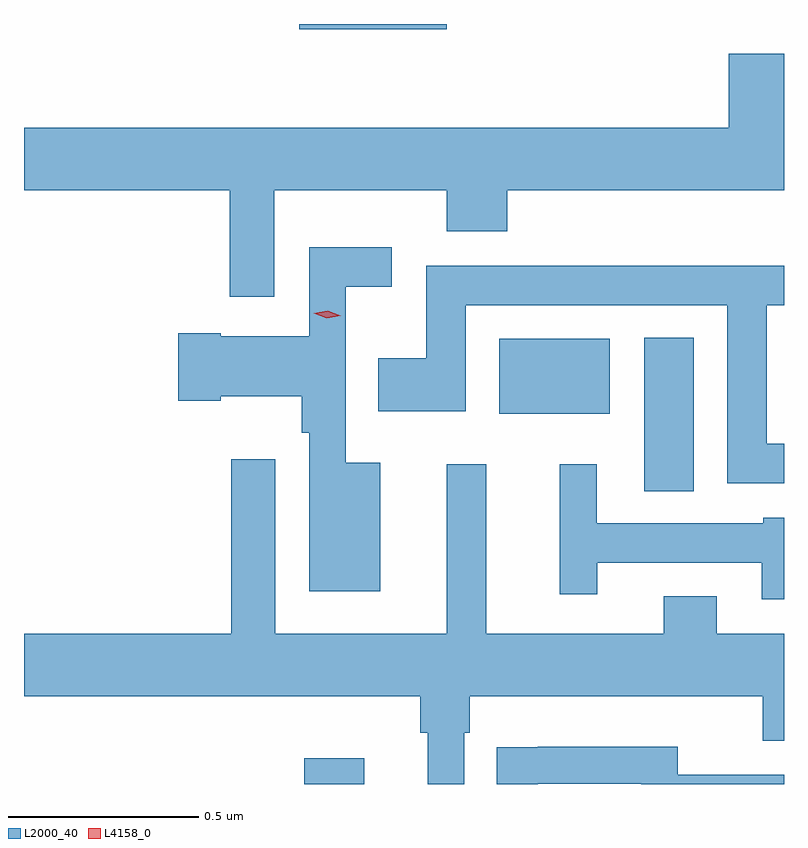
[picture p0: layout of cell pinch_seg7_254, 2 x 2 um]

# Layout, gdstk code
import gdstk
lib = gdstk.Library(unit=1e-6, precision=1e-09)
def R(c, l, rs):  # rectangles x0, y0, x1, y1
    for r in rs: c.add(gdstk.rectangle(r[:2], r[2:], *l))
def P(c, l, *ps):  # polygons
    for p in ps: c.add(gdstk.Polygon(p, *l))
L2000_40 = (2000, 40)
L4158_0 = (4158, 0)

pinch_seg7_254 = lib.new_cell('pinch_seg7_254')
R(pinch_seg7_254, L2000_40, [(857.546,1057.661,857.704,1057.729), (858.44,1058.432,858.571,1058.836), (858.059,1058.636,858.349,1058.833), (857.532,1059.647,857.92,1059.661)])
P(pinch_seg7_254, L2000_40, [(857.466,1059.224),(857.92,1059.224),(857.92,1059.116),(858.08,1059.116),(858.08,1059.224),(858.808,1059.224),(858.808,1059.583),(858.662,1059.583),(858.662,1059.388),(856.808,1059.388),(856.808,1059.224),(857.35,1059.224),(857.35,1058.943),(857.466,1058.943)],
  [(857.746,1058.506),(857.655,1058.506),(857.655,1058.969),(857.776,1058.969),(857.776,1059.073),(857.559,1059.073),(857.559,1058.839),(857.326,1058.839),(857.326,1058.847),(857.214,1058.847),(857.214,1058.669),(857.326,1058.669),(857.326,1058.681),(857.539,1058.681),(857.539,1058.585),(857.558,1058.585),(857.558,1058.168),(857.746,1058.168)],
  [(858.808,1058.557),(858.763,1058.557),(858.763,1058.921),(858.808,1058.921),(858.808,1059.025),(857.867,1059.025),(857.867,1058.782),(857.74,1058.782),(857.74,1058.642),(857.971,1058.642),(857.971,1058.921),(858.659,1058.921),(858.659,1058.453),(858.808,1058.453)],
  [(858.808,1058.362),(858.753,1058.362),(858.753,1058.347),(858.315,1058.347),(858.315,1058.503),(858.218,1058.503),(858.218,1058.16),(858.316,1058.16),(858.316,1058.243),(858.749,1058.243),(858.749,1058.147),(858.808,1058.147)],
  [(858.631,1058.155),(858.491,1058.155),(858.491,1058.056),(858.025,1058.056),(858.025,1058.503),(857.921,1058.503),(857.921,1058.056),(857.469,1058.056),(857.469,1058.515),(857.353,1058.515),(857.353,1058.056),(856.808,1058.056),(856.808,1057.892),(857.851,1057.892),(857.851,1057.796),(857.87,1057.796),(857.87,1057.661),(857.967,1057.661),(857.967,1057.796),(857.981,1057.796),(857.981,1057.892),(858.752,1057.892),(858.752,1057.775),(858.808,1057.775),(858.808,1058.056),(858.631,1058.056)],
  [(858.16,1057.662),(858.432,1057.662),(858.432,1057.661),(858.808,1057.661),(858.808,1057.686),(858.528,1057.686),(858.528,1057.759),(858.16,1057.759),(858.16,1057.758),(858.052,1057.758),(858.052,1057.661),(858.16,1057.661)])
P(pinch_seg7_254, L4158_0, [(857.605,1058.887),(857.57,1058.9),(857.57,1058.9),(857.57,1058.9),(857.607,1058.907),(857.642,1058.893),(857.642,1058.893),(857.642,1058.893)])

lib.write_gds('pinch_seg7_254.gds')
